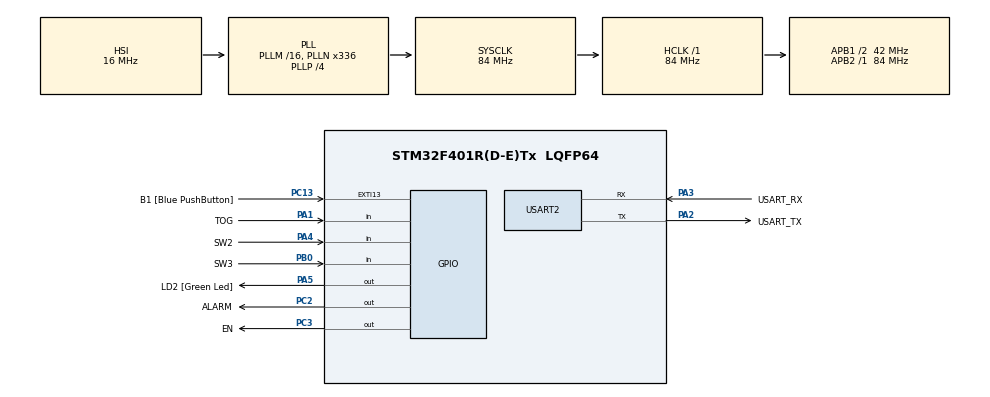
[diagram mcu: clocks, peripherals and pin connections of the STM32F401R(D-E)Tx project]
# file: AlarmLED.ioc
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Mcu.Family=STM32F4
Mcu.Name=STM32F401R(D-E)Tx
Mcu.Package=LQFP64
NVIC.PriorityGroup=NVIC_PRIORITYGROUP_4
PA1.GPIO_Label=TOG
PA1.Signal=GPIO_Input
PA13.GPIO_Label=TMS
PA13.Mode=Trace_Asynchronous_SW
PA13.Signal=SYS_JTMS-SWDIO
PA14.GPIO_Label=TCK
PA14.Mode=Trace_Asynchronous_SW
PA14.Signal=SYS_JTCK-SWCLK
PA2.GPIO_Label=USART_TX
PA2.GPIO_Mode=GPIO_MODE_AF_PP
PA2.GPIO_PuPd=GPIO_NOPULL
PA2.GPIO_Speed=GPIO_SPEED_FREQ_LOW
PA2.Mode=Asynchronous
PA2.Signal=USART2_TX
PA3.GPIO_Label=USART_RX
PA3.GPIO_Mode=GPIO_MODE_AF_PP
PA3.GPIO_PuPd=GPIO_NOPULL
PA3.GPIO_Speed=GPIO_SPEED_FREQ_LOW
PA3.Mode=Asynchronous
PA3.Signal=USART2_RX
PA4.GPIO_Label=SW2
PA4.Signal=GPIO_Input
PA5.GPIO_Label=LD2 [Green Led]
PA5.GPIO_Mode=GPIO_MODE_OUTPUT_PP
PA5.GPIO_PuPd=GPIO_NOPULL
PA5.GPIO_Speed=GPIO_SPEED_FREQ_LOW
PA5.Signal=GPIO_Output
PB0.GPIO_Label=SW3
PB0.Signal=GPIO_Input
PB3.GPIO_Label=SWO
PB3.Mode=Trace_Asynchronous_SW
PB3.Signal=SYS_JTDO-SWO
PC13-ANTI_TAMP.GPIO_Label=B1 [Blue PushButton]
PC13-ANTI_TAMP.GPIO_ModeDefaultEXTI=GPIO_MODE_IT_FALLING
PC13-ANTI_TAMP.GPIO_PuPd=GPIO_NOPULL
PC13-ANTI_TAMP.Signal=GPXTI13
PC14-OSC32_IN.Mode=LSE-External-Oscillator
PC14-OSC32_IN.Signal=RCC_OSC32_IN
PC15-OSC32_OUT.Mode=LSE-External-Oscillator
PC15-OSC32_OUT.Signal=RCC_OSC32_OUT
PC2.GPIO_Label=ALARM
PC2.Signal=GPIO_Output
PC3.GPIO_Label=EN
PC3.Signal=GPIO_Output
PH0\ -\ OSC_IN.Mode=HSE-External-Clock-Source
PH0\ -\ OSC_IN.Signal=RCC_OSC_IN
PH1\ -\ OSC_OUT.Mode=HSE-External-Clock-Source
PH1\ -\ OSC_OUT.Signal=RCC_OSC_OUT
ProjectManager.HeapSize=0x200
ProjectManager.StackSize=0x400
ProjectManager.TargetToolchain=STM32CubeIDE
RCC.48MHZClocksFreq_Value=48000000
RCC.AHBFreq_Value=84000000
RCC.APB1CLKDivider=RCC_HCLK_DIV2
RCC.APB1Freq_Value=42000000
RCC.APB1TimFreq_Value=84000000
RCC.APB2Freq_Value=84000000
RCC.APB2TimFreq_Value=84000000
RCC.CortexFreq_Value=84000000
RCC.HCLKFreq_Value=84000000
RCC.HSE_VALUE=8000000
RCC.HSI_VALUE=16000000
RCC.PLLN=336
RCC.PLLP=RCC_PLLP_DIV4
RCC.PLLQ=7
RCC.SYSCLKFreq_VALUE=84000000
RCC.SYSCLKSource=RCC_SYSCLKSOURCE_PLLCLK
RCC.VCOOutputFreq_Value=336000000
USART2.VirtualMode=VM_ASYNC
board=NUCLEO-F401RE

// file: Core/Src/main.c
/* USER CODE BEGIN Header */
/**
  ******************************************************************************
  * @file           : main.c
  * @brief          : Main program body
  ******************************************************************************
  * @attention
  *
  * Copyright (c) 2025 STMicroelectronics.
  * All rights reserved.
  *
  * This software is licensed under terms that can be found in the LICENSE file
  * in the root directory of this software component.
  * If no LICENSE file comes with this software, it is provided AS-IS.
  *
  ******************************************************************************
  */
/* USER CODE END Header */
#include "main.h"
#include <stdbool.h>
#include <stdio.h>

UART_HandleTypeDef huart2;

/* USER CODE BEGIN PV */
bool isOn = 0;

uint32_t Time[50];
uint32_t Data[50];
int i, last, now;
/* USER CODE END PV */

void SystemClock_Config(void);
static void MX_GPIO_Init(void);
static void MX_USART2_UART_Init(void);

int main(void)
{

  /* USER CODE BEGIN 1 *
  * USER CODE END 1 */

  /* MCU Configuration--------------------------------------------------------*/

  /* Reset of all peripherals, Initializes the Flash interface and the Systick. */
  HAL_Init();

  /* Configure the system clock */
  SystemClock_Config();

  /* Initialize all configured peripherals */
  MX_GPIO_Init();
  MX_USART2_UART_Init();
  /* USER CODE BEGIN 2 */

  bool alarm = 0;

  i = 0;
  last = SysTick->VAL;

  /* USER CODE END 2 */

  /* Infinite loop */
  /* USER CODE BEGIN WHILE */
  while (1)
  {

	  if( HAL_GPIO_ReadPin(GPIOA, TOG_Pin) ){
	  		  HAL_GPIO_TogglePin(GPIOC, EN_Pin);
	  		  isOn ^= 1;
	  		  printf("The alarm was toggled \n --- \n");
	  		  while(HAL_GPIO_ReadPin(GPIOA, TOG_Pin)){ // wait until the button is let go
	  			  HAL_Delay(50);
	  	  	  }
	  	  }
	  while( (HAL_GPIO_ReadPin(GPIOA, SW2_Pin) || HAL_GPIO_ReadPin(SW3_GPIO_Port, SW3_Pin)) && isOn ){
		  HAL_GPIO_TogglePin(GPIOC, ALARM_Pin);
		  alarm ^= 1;
		  if(i<50){
			  now = SysTick->VAL;
			  Time[i] = (last-now)&0x00FFFFFF;
			  Data[i] = alarm;
			  last = now;
			  i++;
		  }
		  HAL_Delay(100);
//		  printf("A window/door is open, the alarm is going off! \n -- \n");

	  }
	  HAL_GPIO_WritePin(GPIOC, ALARM_Pin, GPIO_PIN_RESET);
	  alarm = 0;

    /* USER CODE END WHILE */

  }
}

void SystemClock_Config(void)
{
  RCC_OscInitTypeDef RCC_OscInitStruct = {0};
  RCC_ClkInitTypeDef RCC_ClkInitStruct = {0};

  /** Configure the main internal regulator output voltage
  */
  __HAL_RCC_PWR_CLK_ENABLE();
  __HAL_PWR_VOLTAGESCALING_CONFIG(PWR_REGULATOR_VOLTAGE_SCALE2);

  /** Initializes the RCC Oscillators according to the specified parameters
  * in the RCC_OscInitTypeDef structure.
  */
  RCC_OscInitStruct.OscillatorType = RCC_OSCILLATORTYPE_HSI;
  RCC_OscInitStruct.HSIState = RCC_HSI_ON;
  RCC_OscInitStruct.HSICalibrationValue = RCC_HSICALIBRATION_DEFAULT;
  RCC_OscInitStruct.PLL.PLLState = RCC_PLL_ON;
  RCC_OscInitStruct.PLL.PLLSource = RCC_PLLSOURCE_HSI;
  RCC_OscInitStruct.PLL.PLLM = 16;
  RCC_OscInitStruct.PLL.PLLN = 336;
  RCC_OscInitStruct.PLL.PLLP = RCC_PLLP_DIV4;
  RCC_OscInitStruct.PLL.PLLQ = 7;
  if (HAL_RCC_OscConfig(&RCC_OscInitStruct) != HAL_OK)
  {
    Error_Handler();
  }

  /** Initializes the CPU, AHB and APB buses clocks
  */
  RCC_ClkInitStruct.ClockType = RCC_CLOCKTYPE_HCLK|RCC_CLOCKTYPE_SYSCLK
                              |RCC_CLOCKTYPE_PCLK1|RCC_CLOCKTYPE_PCLK2;
  RCC_ClkInitStruct.SYSCLKSource = RCC_SYSCLKSOURCE_PLLCLK;
  RCC_ClkInitStruct.AHBCLKDivider = RCC_SYSCLK_DIV1;
  RCC_ClkInitStruct.APB1CLKDivider = RCC_HCLK_DIV2;
  RCC_ClkInitStruct.APB2CLKDivider = RCC_HCLK_DIV1;

  if (HAL_RCC_ClockConfig(&RCC_ClkInitStruct, FLASH_LATENCY_2) != HAL_OK)
  {
    Error_Handler();
  }
}

static void MX_USART2_UART_Init(void)
{

  huart2.Instance = USART2;
  huart2.Init.BaudRate = 115200;
  huart2.Init.WordLength = UART_WORDLENGTH_8B;
  huart2.Init.StopBits = UART_STOPBITS_1;
  huart2.Init.Parity = UART_PARITY_NONE;
  huart2.Init.Mode = UART_MODE_TX_RX;
  huart2.Init.HwFlowCtl = UART_HWCONTROL_NONE;
  huart2.Init.OverSampling = UART_OVERSAMPLING_16;
  if (HAL_UART_Init(&huart2) != HAL_OK)
  {
    Error_Handler();
  }

}

static void MX_GPIO_Init(void)
{
  GPIO_InitTypeDef GPIO_InitStruct = {0};

  /* GPIO Ports Clock Enable */
  __HAL_RCC_GPIOC_CLK_ENABLE();
  __HAL_RCC_GPIOH_CLK_ENABLE();
  __HAL_RCC_GPIOA_CLK_ENABLE();
  __HAL_RCC_GPIOB_CLK_ENABLE();

  /*Configure GPIO pin Output Level */
  HAL_GPIO_WritePin(GPIOC, ALARM_Pin|EN_Pin, GPIO_PIN_RESET);

  /*Configure GPIO pin Output Level */
  HAL_GPIO_WritePin(LD2_GPIO_Port, LD2_Pin, GPIO_PIN_RESET);

  /*Configure GPIO pin : B1_Pin */
  GPIO_InitStruct.Pin = B1_Pin;
  GPIO_InitStruct.Mode = GPIO_MODE_IT_FALLING;
  GPIO_InitStruct.Pull = GPIO_NOPULL;
  HAL_GPIO_Init(B1_GPIO_Port, &GPIO_InitStruct);

  /*Configure GPIO pins : ALARM_Pin EN_Pin */
  GPIO_InitStruct.Pin = ALARM_Pin|EN_Pin;
  GPIO_InitStruct.Mode = GPIO_MODE_OUTPUT_PP;
  GPIO_InitStruct.Pull = GPIO_NOPULL;
  GPIO_InitStruct.Speed = GPIO_SPEED_FREQ_LOW;
  HAL_GPIO_Init(GPIOC, &GPIO_InitStruct);

  /*Configure GPIO pins : TOG_Pin SW2_Pin */
  GPIO_InitStruct.Pin = TOG_Pin|SW2_Pin;
  GPIO_InitStruct.Mode = GPIO_MODE_INPUT;
  GPIO_InitStruct.Pull = GPIO_NOPULL;
  HAL_GPIO_Init(GPIOA, &GPIO_InitStruct);

  /*Configure GPIO pin : LD2_Pin */
  GPIO_InitStruct.Pin = LD2_Pin;
  GPIO_InitStruct.Mode = GPIO_MODE_OUTPUT_PP;
  GPIO_InitStruct.Pull = GPIO_NOPULL;
  GPIO_InitStruct.Speed = GPIO_SPEED_FREQ_LOW;
  HAL_GPIO_Init(LD2_GPIO_Port, &GPIO_InitStruct);

  /*Configure GPIO pin : SW3_Pin */
  GPIO_InitStruct.Pin = SW3_Pin;
  GPIO_InitStruct.Mode = GPIO_MODE_INPUT;
  GPIO_InitStruct.Pull = GPIO_NOPULL;
  HAL_GPIO_Init(SW3_GPIO_Port, &GPIO_InitStruct);

}

/* USER CODE BEGIN 4 */
int _write(int file, char *ptr, int len)
{
  (void)file;
  int DataIdx;

  for (DataIdx = 0; DataIdx < len; DataIdx++)
  {
    ITM_SendChar(*ptr++);
  }
  return len;
}
/* USER CODE END 4 */

void Error_Handler(void)
{
  __disable_irq();
  while (1)
  {
  }
}
